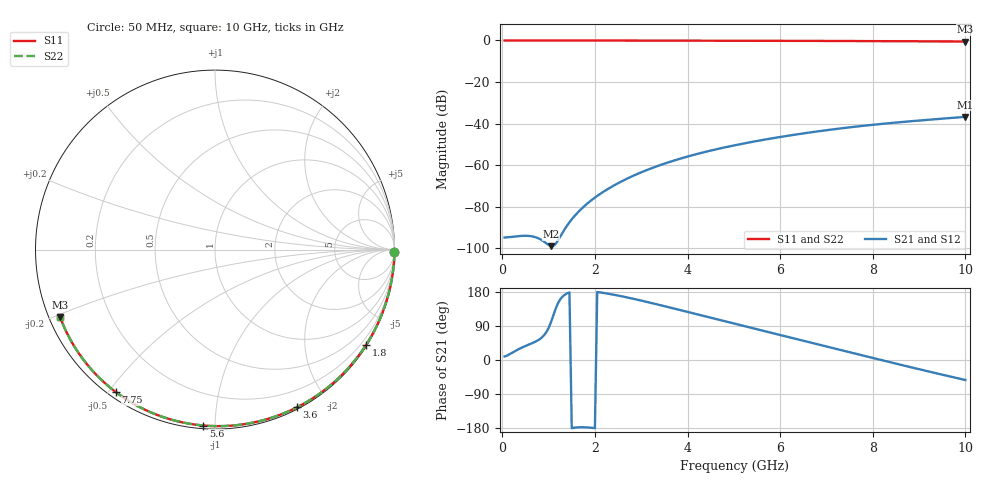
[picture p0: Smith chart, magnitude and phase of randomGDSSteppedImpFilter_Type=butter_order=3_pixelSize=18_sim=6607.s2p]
! freq	dB(S11)	phase(S11)	dB(S12)	phase(S12)
!  dB(S21)	phase(S21)	dB(S22)	phase(S22)
!S-par simulation data
#  GHz  S  DB  R 50
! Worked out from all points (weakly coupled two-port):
!   200 points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, 50 MHz to 10 GHz, reference 50 ohm
!   highest |S21| = -36.75 dB at 10 GHz (marker M1); lowest = -98.9 dB at 1.05 GHz (marker M2)
!   lowest |S11| = -0.5 dB at 10 GHz (marker M3), VSWR 32.98, Z = 1.58 - j10.4 ohm
!   |S11| at or under -10 dB: nowhere
!   |S22| runs from -0.5 to 0.0 dB; largest |S21 - S12| = 0
!   S11 on the Smith chart (normalised r, x): 50 MHz: open; 1.8 GHz: 0.03, -3.47; 3.6 GHz: 0.02, -1.65; 5.6 GHz: 0.02, -0.94; 7.75 GHz: 0.02, -0.52; 10 GHz: 0.03, -0.21
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0.05  -0.00 -0.9  -94.79 9.3  -94.79 9.3  -0.00 -0.9
0.55  -0.01 -10.0  -93.98 39.5  -93.98 39.5  -0.01 -10.0
1.05  -0.02 -18.9  -98.94 99.1  -98.94 99.1  -0.02 -18.9
1.75  -0.04 -31.3  -80.12 -177.4  -80.12 -177.4  -0.04 -31.3
1.8  -0.04 -32.1  -79.13 -177.7  -79.13 -177.7  -0.04 -32.1
1.95  -0.04 -34.7  -76.41 -179.1  -76.41 -179.1  -0.04 -34.7
2.1  -0.05 -37.3  -74.00 178.6  -74.00 178.6  -0.05 -37.3
2.3  -0.05 -40.8  -71.16 174.7  -71.16 174.7  -0.05 -40.8
2.5  -0.06 -44.2  -68.65 170.1  -68.65 170.1  -0.06 -44.2
2.9  -0.07 -51.0  -64.37 159.6  -64.37 159.6  -0.07 -51.0
3.4  -0.08 -59.3  -60.02 145.1  -60.02 145.1  -0.08 -59.3
3.6  -0.08 -62.6  -58.52 139.1  -58.52 139.1  -0.08 -62.6
4.3  -0.11 -73.8  -54.06 117.7  -54.06 117.7  -0.11 -73.8
5.05  -0.13 -85.5  -50.28 94.7  -50.28 94.7  -0.13 -85.5
5.6  -0.16 -93.8  -47.95 78.0  -47.95 78.0  -0.16 -93.8
6.15  -0.18 -101.9  -45.90 61.5  -45.90 61.5  -0.18 -101.9
6.7  -0.21 -109.9  -44.07 44.9  -44.07 44.9  -0.21 -109.9
7.2  -0.25 -117.1  -42.59 29.7  -42.59 29.7  -0.25 -117.1
7.75  -0.29 -124.8  -41.15 13.0  -41.15 13.0  -0.29 -124.8
8.35  -0.34 -133.3  -39.79 -5.1  -39.79 -5.1  -0.34 -133.3
9.2  -0.43 -145.2  -38.15 -30.1  -38.15 -30.1  -0.43 -145.2
10  -0.53 -156.5  -36.75 -52.8  -36.75 -52.8  -0.53 -156.5
